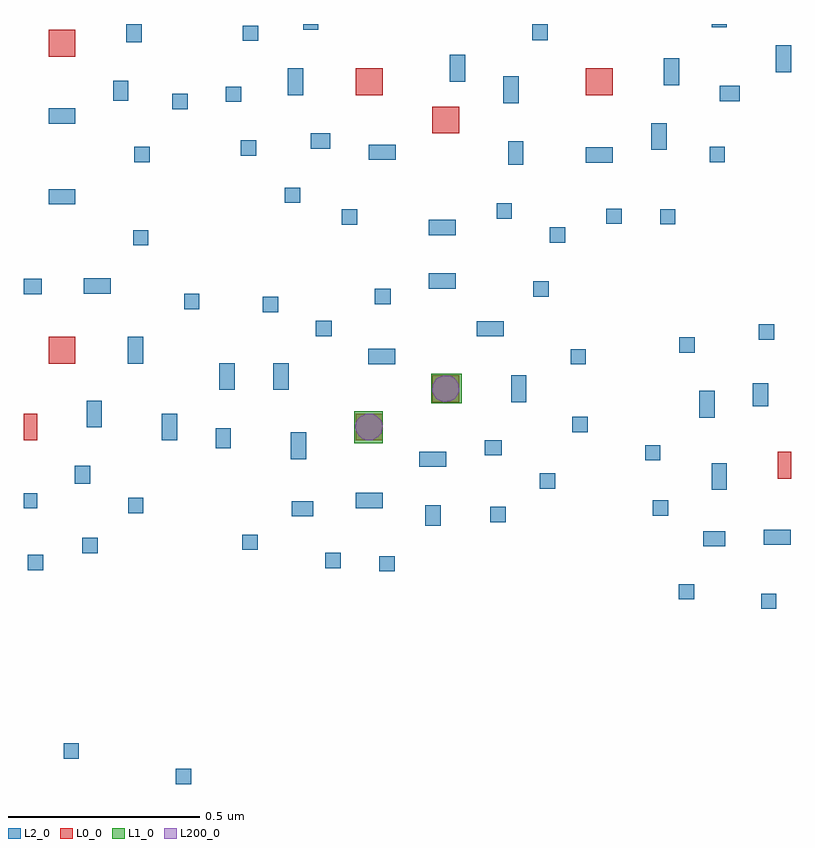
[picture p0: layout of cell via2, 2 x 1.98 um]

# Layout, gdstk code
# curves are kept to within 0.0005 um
import gdstk
lib = gdstk.Library(unit=1e-6, precision=1e-09)
def R(c, l, rs):  # rectangles x0, y0, x1, y1
    for r in rs: c.add(gdstk.rectangle(r[:2], r[2:], *l))
def P(c, l, *ps):  # polygons
    for p in ps: c.add(gdstk.Polygon(p, *l))
L0_0 = (0, 0)
L1_0 = (1, 0)
L2_0 = (2, 0)
L200_0 = (200, 0)

via2 = lib.new_cell('via2')
R(via2, L0_0, [(85.015,54.365,85.05,54.435), (83.05,54.465,83.085,54.535), (83.915,54.465,83.985,54.535), (84.115,54.565,84.185,54.635), (83.115,54.665,83.185,54.735), (84.115,55.265,84.185,55.335), (83.915,55.365,83.985,55.435), (84.515,55.365,84.585,55.435), (83.115,55.465,83.185,55.535)])
R(via2, L1_0, [(83.911,54.458,83.985,54.541), (84.112,54.562,84.191,54.639)])
R(via2, L2_0, [(83.446,53.57,83.486,53.61), (83.154,53.636,83.194,53.676), (84.971,54.026,85.011,54.066), (84.757,54.051,84.797,54.091), (83.977,54.124,84.017,54.164), (83.061,54.127,83.101,54.167), (83.836,54.132,83.876,54.172), (83.203,54.171,83.243,54.211), (83.62,54.18,83.66,54.22), (84.821,54.189,84.878,54.229), (84.978,54.193,85.048,54.233), (84.096,54.243,84.136,54.296), (84.266,54.252,84.306,54.292), (83.749,54.267,83.804,54.307), (84.689,54.269,84.729,54.309), (83.322,54.276,83.362,54.316), (83.05,54.288,83.085,54.328), (83.915,54.289,83.985,54.329), (84.842,54.336,84.882,54.406), (84.395,54.339,84.435,54.379), (83.183,54.352,83.223,54.399), (84.081,54.396,84.151,54.436), (84.669,54.413,84.709,54.453), (83.746,54.416,83.786,54.486), (84.251,54.426,84.296,54.466), (83.55,54.445,83.59,54.497), (83.41,54.465,83.45,54.535), (84.479,54.487,84.519,54.527), (83.214,54.499,83.254,54.569), (84.81,54.524,84.85,54.594), (84.95,54.554,84.99,54.614), (84.32,54.565,84.36,54.635), (83.56,54.597,83.6,54.666), (83.7,54.597,83.74,54.666), (84.475,54.663,84.515,54.703), (83.948,54.664,84.018,54.704), (83.321,54.665,83.361,54.735), (84.758,54.694,84.798,54.734), (84.965,54.728,85.005,54.768), (84.231,54.736,84.301,54.776), (83.811,54.737,83.853,54.777), (83.673,54.799,83.713,54.839), (83.468,54.807,83.508,54.847), (83.965,54.82,84.006,54.86), (84.378,54.84,84.418,54.88), (83.05,54.846,83.097,54.886), (83.207,54.847,83.277,54.887), (84.106,54.86,84.176,54.9), (83.335,54.973,83.375,55.013), (84.421,54.98,84.461,55.02), (84.106,55,84.176,55.04), (83.879,55.027,83.919,55.067), (84.708,55.028,84.748,55.068), (84.568,55.029,84.608,55.069), (84.282,55.043,84.322,55.083), (83.115,55.08,83.185,55.12), (83.73,55.084,83.77,55.124), (84.312,55.183,84.352,55.244), (84.515,55.189,84.585,55.229), (83.338,55.19,83.378,55.23), (84.837,55.19,84.877,55.23), (83.949,55.196,84.019,55.236), (83.616,55.207,83.656,55.247), (84.685,55.223,84.725,55.291), (83.798,55.225,83.849,55.265), (83.115,55.29,83.185,55.33), (83.437,55.328,83.477,55.368), (84.3,55.344,84.34,55.414), (83.577,55.347,83.617,55.387), (84.864,55.349,84.916,55.389), (83.283,55.35,83.323,55.402), (83.738,55.365,83.778,55.435), (84.718,55.391,84.758,55.461), (84.16,55.4,84.2,55.47), (85.01,55.424,85.05,55.494), (83.317,55.502,83.357,55.55), (83.621,55.506,83.661,55.546), (84.375,55.508,84.415,55.55), (83.778,55.535,83.818,55.55), (84.842,55.541,84.882,55.55), (83.481,55.549,83.521,55.55)])
P(via2, L200_0, [(83.941,54.466),(83.932,54.47),(83.923,54.477),(83.915,54.492),(83.914,54.501),(83.915,54.511),(83.92,54.52),(83.929,54.529),(83.941,54.534),(83.96,54.534),(83.969,54.529),(83.979,54.52),(83.984,54.511),(83.985,54.501),(83.981,54.483),(83.973,54.474),(83.96,54.466)],
  [(84.144,54.565),(84.135,54.568),(84.125,54.574),(84.118,54.584),(84.115,54.593),(84.116,54.611),(84.125,54.626),(84.132,54.63),(84.144,54.635),(84.162,54.633),(84.172,54.628),(84.175,54.625),(84.181,54.616),(84.183,54.612),(84.185,54.593),(84.181,54.584),(84.175,54.575),(84.162,54.567)])

lib.write_gds('via2.gds')
